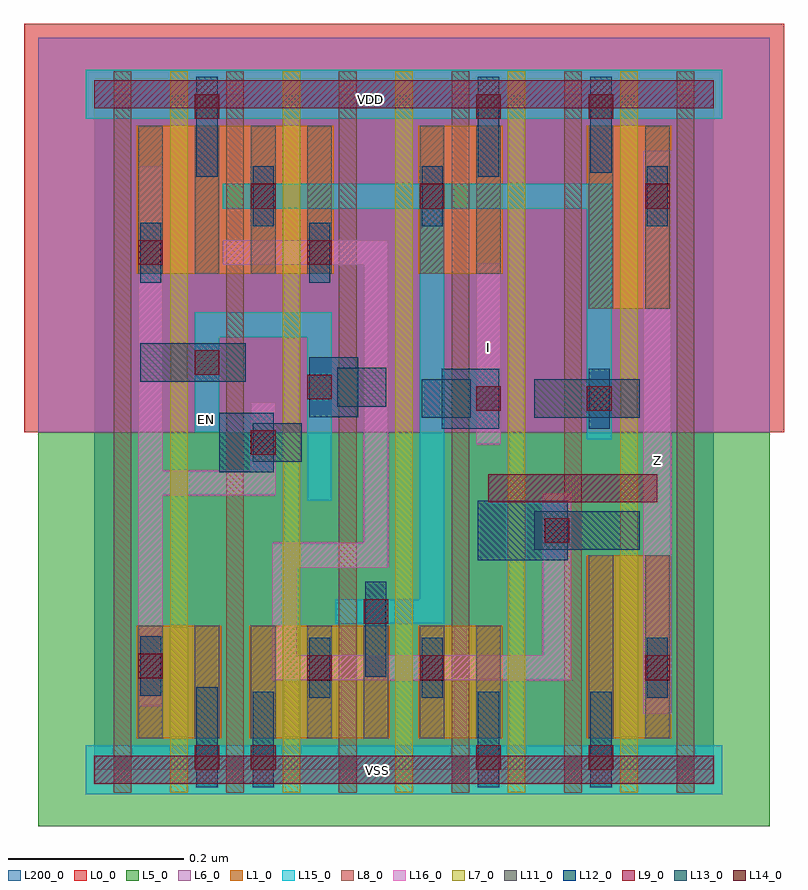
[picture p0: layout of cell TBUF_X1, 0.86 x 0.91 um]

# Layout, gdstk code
import gdstk
lib = gdstk.Library(unit=1e-6, precision=1e-09)
def R(c, l, rs):  # rectangles x0, y0, x1, y1
    for r in rs: c.add(gdstk.rectangle(r[:2], r[2:], *l))
def A(c, l, x, y, w, h, nx, ny, dx, dy):  # array of equal rectangles
    R(c, l, [(x+i*dx, y+j*dy, x+i*dx+w, y+j*dy+h) for i in range(nx) for j in range(ny)])
def P(c, l, *ps):  # polygons
    for p in ps: c.add(gdstk.Polygon(p, *l))
L0_0 = (0, 0)
L1_0 = (1, 0)
L5_0 = (5, 0)
L6_0 = (6, 0)
L7_0 = (7, 0)
L8_0 = (8, 0)
L9_0 = (9, 0)
L11_0 = (11, 0)
L12_0 = (12, 0)
L13_0 = (13, 0)
L14_0 = (14, 0)
L15_0 = (15, 0)
L16_0 = (16, 0)
L200_0 = (200, 0)

tbuf_x1 = lib.new_cell('TBUF_X1')
R(tbuf_x1, L0_0, [(-0.08,0.384,0.784,0.848)])
R(tbuf_x1, L1_0, [(0.048,0.036,0.144,0.164), (0.176,0.036,0.336,0.164), (0.368,0.036,0.464,0.164), (0.56,0.036,0.656,0.244), (0.56,0.524,0.656,0.732), (0.048,0.564,0.272,0.732), (0.368,0.564,0.464,0.732)])
R(tbuf_x1, L5_0, [(-0.064,-0.064,0.768,0.384)])
R(tbuf_x1, L6_0, [(-0.064,0.384,0.768,0.832)])
A(tbuf_x1, L7_0, 0.086, -0.026, 0.02, 0.82, 5, 1, 0.128, 0)
A(tbuf_x1, L8_0, 0.022, -0.026, 0.02, 0.82, 6, 1, 0.128, 0)
R(tbuf_x1, L9_0, [(0,-0.016,0.704,0.016), (0.448,0.304,0.64,0.336), (0,0.752,0.704,0.784)])
A(tbuf_x1, L11_0, 0.05, 0.036, 0.028, 0.128, 7, 1, 0.064, 0)
A(tbuf_x1, L11_0, 0.05, 0.564, 0.028, 0.168, 4, 1, 0.064, 0)
R(tbuf_x1, L11_0, [(0.562,0.036,0.59,0.244), (0.626,0.036,0.654,0.244), (0.562,0.524,0.59,0.732), (0.626,0.524,0.654,0.732), (0.37,0.564,0.398,0.732), (0.434,0.564,0.462,0.732)])
R(tbuf_x1, L12_0, [(0.116,-0.02,0.14,0.094), (0.18,-0.02,0.204,0.089), (0.436,-0.02,0.46,0.089), (0.564,-0.02,0.588,0.089), (0.244,0.082,0.268,0.15), (0.372,0.082,0.396,0.15), (0.628,0.082,0.652,0.15), (0.052,0.084,0.076,0.152), (0.308,0.106,0.332,0.214), (0.436,0.238,0.538,0.306), (0.142,0.338,0.204,0.406), (0.395,0.388,0.46,0.456), (0.562,0.388,0.586,0.456), (0.244,0.401,0.3,0.469), (0.052,0.554,0.076,0.622), (0.244,0.554,0.268,0.622), (0.18,0.618,0.204,0.686), (0.372,0.618,0.396,0.686), (0.628,0.618,0.652,0.686), (0.116,0.674,0.14,0.788), (0.436,0.674,0.46,0.788), (0.564,0.679,0.588,0.788)])
R(tbuf_x1, L13_0, [(0.5,0.25,0.62,0.294), (0.18,0.35,0.236,0.394), (0.372,0.4,0.428,0.444), (0.5,0.4,0.62,0.444), (0.276,0.413,0.332,0.457), (0.052,0.441,0.172,0.485)])
R(tbuf_x1, L14_0, [(0.114,0,0.142,0.028), (0.178,0,0.206,0.028), (0.434,0,0.462,0.028), (0.562,0,0.59,0.028), (0.242,0.102,0.27,0.13), (0.37,0.102,0.398,0.13), (0.626,0.102,0.654,0.13), (0.05,0.104,0.078,0.132), (0.306,0.166,0.334,0.194), (0.512,0.258,0.54,0.286), (0.178,0.358,0.206,0.386), (0.434,0.408,0.462,0.436), (0.56,0.408,0.588,0.436), (0.242,0.421,0.27,0.449), (0.114,0.449,0.142,0.477), (0.05,0.574,0.078,0.602), (0.242,0.574,0.27,0.602), (0.178,0.638,0.206,0.666), (0.37,0.638,0.398,0.666), (0.626,0.638,0.654,0.666), (0.114,0.74,0.142,0.768), (0.434,0.74,0.462,0.768), (0.562,0.74,0.59,0.768)])
R(tbuf_x1, L15_0, [(-0.01,-0.028,0.714,0.028), (-0.01,0.74,0.714,0.796)])
P(tbuf_x1, L15_0, [(0.114,0.384),(0.142,0.384),(0.142,0.492),(0.242,0.492),(0.242,0.306),(0.27,0.306),(0.27,0.52),(0.114,0.52)],
  [(0.146,0.638),(0.37,0.638),(0.37,0.194),(0.274,0.194),(0.274,0.166),(0.398,0.166),(0.398,0.638),(0.56,0.638),(0.56,0.376),(0.588,0.376),(0.588,0.666),(0.146,0.666)])
R(tbuf_x1, L16_0, [(0.624,0.064,0.656,0.704), (0.434,0.37,0.462,0.576)])
P(tbuf_x1, L16_0, [(0.05,0.072),(0.078,0.072),(0.078,0.312),(0.206,0.312),(0.206,0.418),(0.178,0.418),(0.178,0.34),(0.078,0.34),(0.078,0.686),(0.05,0.686)],
  [(0.146,0.574),(0.306,0.574),(0.306,0.258),(0.202,0.258),(0.202,0.102),(0.542,0.102),(0.542,0.314),(0.51,0.314),(0.51,0.13),(0.23,0.13),(0.23,0.23),(0.334,0.23),(0.334,0.602),(0.146,0.602)])
R(tbuf_x1, L200_0, [(0,0,0.704,0.768)])
tbuf_x1.add(gdstk.Label('VSS', (0.322,-0.001), layer=15, texttype=20))
tbuf_x1.add(gdstk.Label('EN', (0.128,0.398), layer=15, texttype=20))
tbuf_x1.add(gdstk.Label('VDD', (0.314,0.762), layer=15, texttype=20))
tbuf_x1.add(gdstk.Label('Z', (0.64,0.352), layer=16, texttype=20))
tbuf_x1.add(gdstk.Label('I', (0.448,0.48), layer=16, texttype=20))

lib.write_gds('TBUF_X1.gds')
